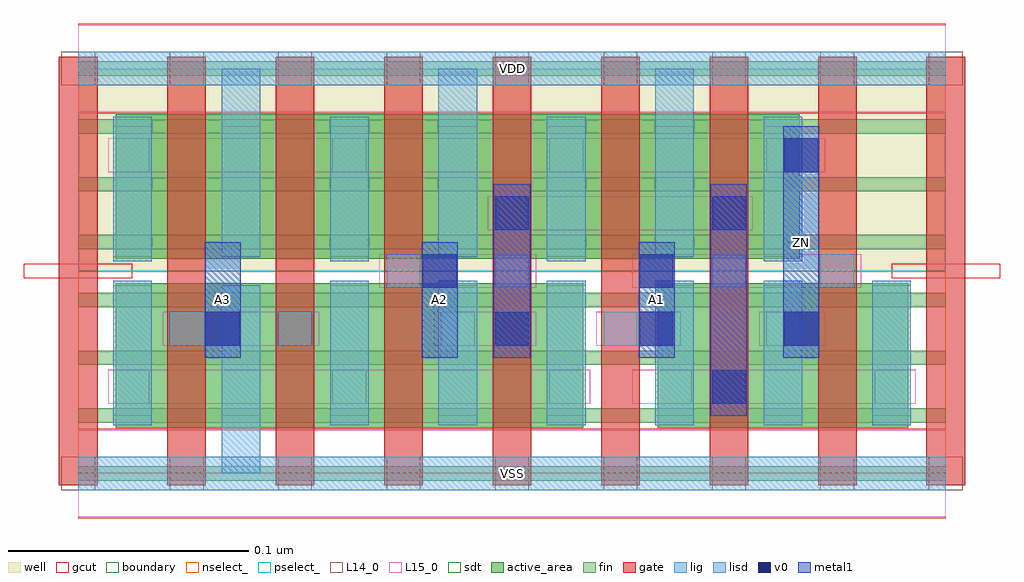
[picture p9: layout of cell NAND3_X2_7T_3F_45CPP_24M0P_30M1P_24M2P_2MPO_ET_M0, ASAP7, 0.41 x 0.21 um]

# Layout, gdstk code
import gdstk
lib = gdstk.Library(unit=1e-6, precision=2.5e-10)
def R(c, l, rs):  # rectangles x0, y0, x1, y1
    for r in rs: c.add(gdstk.rectangle(r[:2], r[2:], *l))
def A(c, l, x, y, w, h, nx, ny, dx, dy):  # array of equal rectangles
    R(c, l, [(x+i*dx, y+j*dy, x+i*dx+w, y+j*dy+h) for i in range(nx) for j in range(ny)])
well = (1, 0)
fin = (2, 0)
gate = (7, 0)
gcut = (10, 0)
active_area = (11, 0)
nselect_ = (12, 0)
pselect_ = (13, 0)
L14_0 = (14, 0)
L15_0 = (15, 0)
lig = (16, 0)
lisd = (17, 0)
v0 = (18, 0)
metal1 = (19, 0)
sdt = (88, 0)
boundary = (100, 0)

nand3_x2_7t_3f_45cpp_24m = lib.new_cell('NAND3_X2_7T_3F_45CPP_24M0P_30M1P_24M2P_2MPO_ET_M0')
R(nand3_x2_7t_3f_45cpp_24m, well, [(0,0.084,0.36,0.168)])
A(nand3_x2_7t_3f_45cpp_24m, fin, 0, -0.003, 0.36, 0.006, 1, 8, 0, 0.024)
A(nand3_x2_7t_3f_45cpp_24m, gate, -0.008, -0.005, 0.016, 0.178, 9, 1, 0.045, 0)
R(nand3_x2_7t_3f_45cpp_24m, gcut, [(0,-0.0185,0.36,0.0185), (-0.0225,0.081,0.0225,0.087), (0.3375,0.081,0.3825,0.087), (0,0.1495,0.36,0.1865)])
A(nand3_x2_7t_3f_45cpp_24m, active_area, 0.0155, 0.089, 0.104, 0.06, 3, 1, 0.09, 0)
R(nand3_x2_7t_3f_45cpp_24m, active_area, [(0.0155,0.019,0.1195,0.079), (0.1055,0.019,0.2095,0.079), (0.2405,0.019,0.3445,0.079)])
R(nand3_x2_7t_3f_45cpp_24m, nselect_, [(0,0,0.36,0.084)])
R(nand3_x2_7t_3f_45cpp_24m, pselect_, [(0,0.084,0.36,0.168)])
A(nand3_x2_7t_3f_45cpp_24m, L14_0, -0.007, -0.007, 0.014, 0.014, 9, 2, 0.045, 0.168)
A(nand3_x2_7t_3f_45cpp_24m, L14_0, 0.0155, 0.029, 0.014, 0.014, 3, 1, 0.09, 0)
A(nand3_x2_7t_3f_45cpp_24m, L14_0, 0.083, 0.053, 0.014, 0.014, 4, 1, 0.0675, 0)
A(nand3_x2_7t_3f_45cpp_24m, L14_0, 0.0155, 0.125, 0.014, 0.014, 4, 1, 0.09, 0)
R(nand3_x2_7t_3f_45cpp_24m, L14_0, [(0.2405,0.029,0.2545,0.043), (0.3305,0.029,0.3445,0.043), (0.038,0.053,0.052,0.067), (0.128,0.077,0.142,0.091), (0.173,0.077,0.187,0.091), (0.263,0.077,0.277,0.091), (0.308,0.077,0.322,0.091)])
R(nand3_x2_7t_3f_45cpp_24m, L15_0, [(0,-0.018,0.36,0.018), (0.0125,0.029,0.2125,0.043), (0.23,0.029,0.3475,0.043), (0.035,0.053,0.1,0.067), (0.1475,0.053,0.19,0.067), (0.215,0.053,0.25,0.067), (0.2825,0.053,0.31,0.067), (0.125,0.077,0.19,0.091), (0.23,0.077,0.325,0.091), (0.17,0.101,0.28,0.115), (0.0125,0.125,0.31,0.139), (0,0.15,0.36,0.186)])
R(nand3_x2_7t_3f_45cpp_24m, lig, [(0,-0.007,0.36,0.007), (0.038,0.053,0.052,0.067), (0.083,0.053,0.097,0.067), (0.218,0.053,0.232,0.067), (0.128,0.077,0.142,0.091), (0.173,0.077,0.187,0.091), (0.263,0.077,0.277,0.091), (0.308,0.077,0.322,0.091), (0,0.161,0.36,0.175)])
A(nand3_x2_7t_3f_45cpp_24m, lisd, 0.1045, 0.02, 0.016, 0.06, 6, 1, 0.045, 0)
A(nand3_x2_7t_3f_45cpp_24m, lisd, 0.0145, 0.088, 0.016, 0.06, 4, 1, 0.09, 0)
A(nand3_x2_7t_3f_45cpp_24m, lisd, 0.0595, 0.09, 0.016, 0.078, 3, 1, 0.09, 0)
R(nand3_x2_7t_3f_45cpp_24m, lisd, [(0.0595,0,0.0755,0.078), (0.0145,0.02,0.0305,0.08)])
A(nand3_x2_7t_3f_45cpp_24m, v0, 0.173, 0.053, 0.014, 0.014, 3, 1, 0.06, 0)
R(nand3_x2_7t_3f_45cpp_24m, v0, [(0.263,0.029,0.277,0.043), (0.053,0.053,0.067,0.067), (0.143,0.077,0.157,0.091), (0.233,0.077,0.247,0.091), (0.173,0.101,0.187,0.115), (0.263,0.101,0.277,0.115), (0.293,0.125,0.307,0.139)])
A(nand3_x2_7t_3f_45cpp_24m, metal1, 0.0525, 0.048, 0.015, 0.048, 3, 1, 0.09, 0)
R(nand3_x2_7t_3f_45cpp_24m, metal1, [(0.2625,0.024,0.2775,0.12), (0.1725,0.048,0.1875,0.12), (0.2925,0.048,0.3075,0.144)])
A(nand3_x2_7t_3f_45cpp_24m, sdt, 0.0145, 0.024, 0.016, 0.054, 8, 1, 0.045, 0)
A(nand3_x2_7t_3f_45cpp_24m, sdt, 0.0145, 0.09, 0.016, 0.054, 7, 1, 0.045, 0)
R(nand3_x2_7t_3f_45cpp_24m, boundary, [(0,0,0.36,0.168)])
nand3_x2_7t_3f_45cpp_24m.add(gdstk.Label('A1', (0.24,0.072), layer=19, texttype=251))
nand3_x2_7t_3f_45cpp_24m.add(gdstk.Label('ZN', (0.3,0.096), layer=19, texttype=251))
nand3_x2_7t_3f_45cpp_24m.add(gdstk.Label('A2', (0.15,0.072), layer=19, texttype=251))
nand3_x2_7t_3f_45cpp_24m.add(gdstk.Label('A3', (0.06,0.072), layer=19, texttype=251))
nand3_x2_7t_3f_45cpp_24m.add(gdstk.Label('VDD', (0.18,0.168), layer=15, texttype=251))
nand3_x2_7t_3f_45cpp_24m.add(gdstk.Label('VSS', (0.18,0), layer=15, texttype=251))
nand3_x2_7t_3f_45cpp_24m.add(gdstk.Label('VDD', (0.18,0.168), layer=1, texttype=251))
nand3_x2_7t_3f_45cpp_24m.add(gdstk.Label('VSS', (0.18,0), layer=3, texttype=251))

lib.write_gds('NAND3_X2_7T_3F_45CPP_24M0P_30M1P_24M2P_2MPO_ET_M0.gds')
